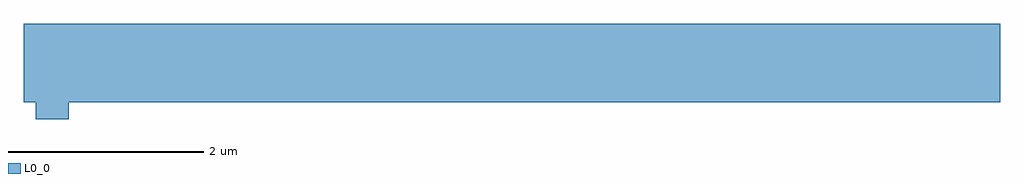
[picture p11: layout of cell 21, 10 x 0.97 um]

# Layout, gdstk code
import gdstk
lib = gdstk.Library(unit=1e-6, precision=1e-09)
def P(c, l, *ps):  # polygons
    for p in ps: c.add(gdstk.Polygon(p, *l))
L0_0 = (0, 0)

c_21 = lib.new_cell('21')
P(c_21, L0_0, [(1200,734.56),(1201.2,734.56),(1201.2,733.76),(1200,733.76),(1200,734.56)],
  [(1210,733.76),(1208.585,733.76),(1208.585,734.56),(1210,734.56),(1210,733.76)],
  [(1201.2,734.56),(1201.2,733.76),(1200.54,733.76),(1200.54,734.56),(1201.2,734.56)],
  [(1210,733.76),(1200.8,733.76),(1200.8,734.56),(1210,734.56),(1210,733.76)],
  [(1200,734.56),(1201.2,734.56),(1201.2,733.76),(1200.46,733.76),(1200.46,733.585),(1200.12,733.585),(1200.12,733.76),(1200,733.76),(1200,734.56)],
  [(1200,734.56),(1200.54,734.56),(1200.54,733.76),(1200,733.76),(1200,734.56)],
  [(1210,733.76),(1208.585,733.76),(1208.585,734.56),(1210,734.56),(1210,733.76)],
  [(1201.2,734.56),(1201.2,733.76),(1200.54,733.76),(1200.54,734.56),(1201.2,734.56)],
  [(1210,733.76),(1200.8,733.76),(1200.8,734.56),(1210,734.56),(1210,733.76)],
  [(1200,734.56),(1201.2,734.56),(1201.2,733.76),(1200.46,733.76),(1200.46,733.585),(1200.12,733.585),(1200.12,733.76),(1200,733.76),(1200,734.56)],
  [(1200,734.56),(1200.54,734.56),(1200.54,733.76),(1200,733.76),(1200,734.56)],
  [(1210,733.76),(1208.585,733.76),(1208.585,734.56),(1210,734.56),(1210,733.76)],
  [(1210,733.76),(1208.585,733.76),(1208.585,734.56),(1210,734.56),(1210,733.76)],
  [(1210,733.76),(1208.585,733.76),(1208.585,734.56),(1210,734.56),(1210,733.76)],
  [(1210,733.76),(1208.585,733.76),(1208.585,734.56),(1210,734.56),(1210,733.76)])

lib.write_gds('21.gds')
